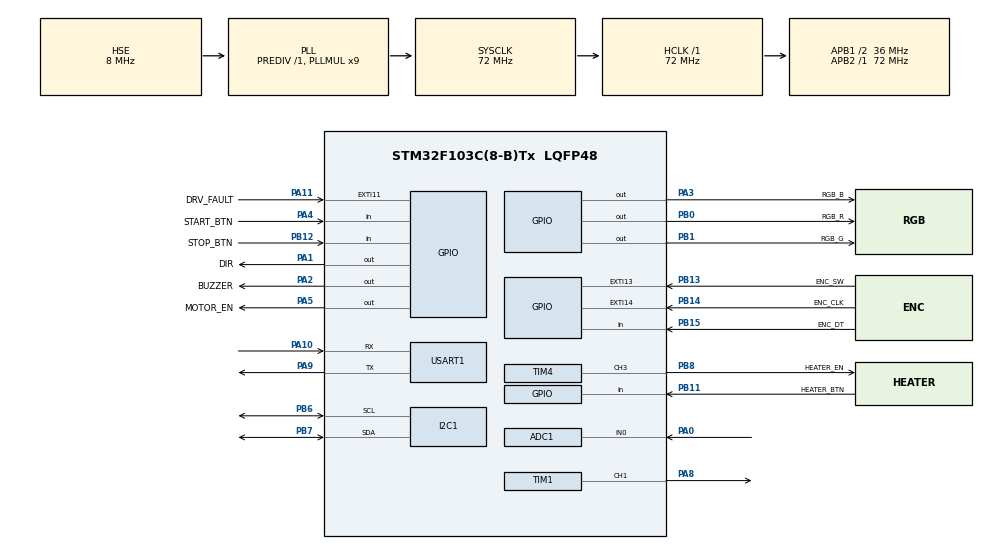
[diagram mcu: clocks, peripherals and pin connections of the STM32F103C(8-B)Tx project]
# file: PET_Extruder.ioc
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ADC1.Channel-0\#ChannelRegularConversion=ADC_CHANNEL_0
ADC1.ContinuousConvMode=ENABLE
ADC1.NbrOfConversionFlag=1
ADC1.Rank-0\#ChannelRegularConversion=1
ADC1.SamplingTime-0\#ChannelRegularConversion=ADC_SAMPLETIME_239CYCLES_5
ADC1.master=1
Dma.ADC1.0.Direction=DMA_PERIPH_TO_MEMORY
Dma.ADC1.0.Instance=DMA1_Channel1
Dma.ADC1.0.MemDataAlignment=DMA_MDATAALIGN_HALFWORD
Dma.ADC1.0.MemInc=DMA_MINC_ENABLE
Dma.ADC1.0.Mode=DMA_NORMAL
Dma.ADC1.0.PeriphDataAlignment=DMA_PDATAALIGN_HALFWORD
Dma.ADC1.0.PeriphInc=DMA_PINC_DISABLE
Dma.ADC1.0.Priority=DMA_PRIORITY_LOW
Dma.Request0=ADC1
Dma.Request1=USART1_TX
Dma.USART1_TX.1.Direction=DMA_MEMORY_TO_PERIPH
Dma.USART1_TX.1.Instance=DMA1_Channel4
Dma.USART1_TX.1.MemDataAlignment=DMA_MDATAALIGN_BYTE
Dma.USART1_TX.1.MemInc=DMA_MINC_ENABLE
Dma.USART1_TX.1.Mode=DMA_NORMAL
Dma.USART1_TX.1.PeriphDataAlignment=DMA_PDATAALIGN_BYTE
Dma.USART1_TX.1.PeriphInc=DMA_PINC_DISABLE
Dma.USART1_TX.1.Priority=DMA_PRIORITY_LOW
IWDG.Prescaler=IWDG_PRESCALER_64
IWDG.Reload=2500
Mcu.Family=STM32F1
Mcu.Name=STM32F103C(8-B)Tx
Mcu.Package=LQFP48
NVIC.DMA1_Channel1_IRQn=true\:0\:0\:false\:false\:true\:false\:true\:true
NVIC.DMA1_Channel4_IRQn=true\:0\:0\:false\:false\:true\:false\:true\:true
NVIC.EXTI15_10_IRQn=true\:0\:0\:false\:false\:true\:true\:true\:true
NVIC.PriorityGroup=NVIC_PRIORITYGROUP_4
NVIC.TIM3_IRQn=true\:0\:0\:false\:false\:true\:true\:true\:true
NVIC.USART1_IRQn=true\:0\:0\:false\:false\:true\:true\:true\:true
PA0-WKUP.Signal=ADCx_IN0
PA1.GPIO_Label=DIR
PA1.Signal=GPIO_Output
PA10.Mode=Asynchronous
PA10.Signal=USART1_RX
PA11.GPIO_Label=DRV_FAULT 
PA11.GPIO_ModeDefaultEXTI=GPIO_MODE_IT_FALLING
PA11.GPIO_PuPd=GPIO_PULLUP
PA11.Signal=GPXTI11
PA2.GPIO_Label=BUZZER
PA2.Signal=GPIO_Output
PA3.GPIO_Label=RGB_B
PA3.Signal=GPIO_Output
PA4.GPIO_Label=START_BTN
PA4.GPIO_PuPd=GPIO_PULLUP
PA4.Signal=GPIO_Input
PA5.GPIO_Label=MOTOR_EN
PA5.GPIO_PuPd=GPIO_PULLDOWN
PA5.Signal=GPIO_Output
PA8.Signal=S_TIM1_CH1
PA9.Mode=Asynchronous
PA9.Signal=USART1_TX
PB0.GPIO_Label=RGB_R
PB0.Signal=GPIO_Output
PB1.GPIO_Label=RGB_G
PB1.Signal=GPIO_Output
PB11.GPIO_Label=HEATER_BTN
PB11.GPIO_PuPd=GPIO_PULLUP
PB11.Signal=GPIO_Input
PB12.GPIO_Label=STOP_BTN
PB12.GPIO_PuPd=GPIO_PULLUP
PB12.Signal=GPIO_Input
PB13.GPIO_Label=ENC_SW
PB13.GPIO_ModeDefaultEXTI=GPIO_MODE_IT_FALLING
PB13.GPIO_PuPd=GPIO_PULLUP
PB13.Signal=GPXTI13
PB14.GPIO_Label=ENC_CLK 
PB14.GPIO_ModeDefaultEXTI=GPIO_MODE_IT_RISING_FALLING
PB14.GPIO_PuPd=GPIO_PULLUP
PB14.Signal=GPXTI14
PB15.GPIO_Label=ENC_DT
PB15.GPIO_PuPd=GPIO_PULLUP
PB15.Signal=GPIO_Input
PB6.Mode=I2C
PB6.Signal=I2C1_SCL
PB7.Mode=I2C
PB7.Signal=I2C1_SDA
PB8.GPIO_Label=HEATER_EN
PB8.Signal=S_TIM4_CH3
PD0-OSC_IN.Mode=HSE-External-Oscillator
PD0-OSC_IN.Signal=RCC_OSC_IN
PD1-OSC_OUT.Mode=HSE-External-Oscillator
PD1-OSC_OUT.Signal=RCC_OSC_OUT
ProjectManager.HeapSize=0x200
ProjectManager.StackSize=0x400
ProjectManager.TargetToolchain=STM32CubeIDE
RCC.ADCPresc=RCC_ADCPCLK2_DIV6
RCC.AHBFreq_Value=72000000
RCC.APB1CLKDivider=RCC_HCLK_DIV2
RCC.APB1Freq_Value=36000000
RCC.APB1TimFreq_Value=72000000
RCC.APB2Freq_Value=72000000
RCC.APB2TimFreq_Value=72000000
RCC.HCLKFreq_Value=72000000
RCC.PLLMUL=RCC_PLL_MUL9
RCC.PLLSourceVirtual=RCC_PLLSOURCE_HSE
RCC.SYSCLKFreq_VALUE=72000000
RCC.SYSCLKSource=RCC_SYSCLKSOURCE_PLLCLK
RCC.USBFreq_Value=72000000
SH.ADCx_IN0.0=ADC1_IN0,IN0
SH.S_TIM1_CH1.0=TIM1_CH1,PWM Generation1 CH1
SH.S_TIM4_CH3.0=TIM4_CH3,PWM Generation3 CH3
TIM1.Channel-PWM\ Generation1\ CH1=TIM_CHANNEL_1
TIM1.Prescaler=71
TIM3.AutoReloadPreload=TIM_AUTORELOAD_PRELOAD_ENABLE
TIM3.Period=9
TIM3.Prescaler=7199
TIM4.AutoReloadPreload=TIM_AUTORELOAD_PRELOAD_ENABLE
TIM4.Channel-PWM\ Generation3\ CH3=TIM_CHANNEL_3
TIM4.Period=9999
TIM4.Prescaler=719
USART1.VirtualMode=VM_ASYNC
VP_IWDG_VS_IWDG.Mode=IWDG_Activate
VP_SYS_VS_ND.Mode=No_Debug
VP_TIM2_VS_ClockSourceINT.Mode=Internal
VP_TIM3_VS_ClockSourceINT.Mode=Internal
board=custom

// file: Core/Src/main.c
/* USER CODE BEGIN Header */
/**
  ******************************************************************************
  * @file           : main.c
  * @brief          : PET Extruder - Thermal + Stepper Control
  ******************************************************************************
  */
/* USER CODE END Header */
#include "main.h"
#include "adc.h"
#include "dma.h"
#include "i2c.h"
#include "iwdg.h"
#include "tim.h"
#include "usart.h"
#include "gpio.h"

/* USER CODE BEGIN Includes */
#include "i2c-lcd.h"
#include "encoder.h"
#include "menu.h"
#include <math.h>
#include <stdio.h>
#include <stdbool.h>
#include <stdlib.h>
#include <string.h>
/* USER CODE END Includes */

/* USER CODE BEGIN PTD */
// SystemError_t moved to main.h
/* USER CODE END PTD */

/* USER CODE BEGIN PD */
#define VREF            3.3f
#define ADCMAX          4095.0f

#define R_SERIES        1000.0f
#define R_NTC_25C       100500.0f

#define BETA_LOW        3950.0f
#define BETA_HIGH       4410.0f
#define R_CROSSOVER     1500.0f
#define T_25C_K         298.15f

//#define T_SET_C         250.0f

#define T_HYST_C        2.0f
#define T_MAX_C         270.0f

#define ADC_BUF_SIZE    64
#define ALPHA_TEMP      0.1f

#define FREQ_MIN_HZ     50
#define ACCEL_STEPS     2000
#define DECEL_STEPS     2000

#define TEMP_SAFE_EXTRUSION  230.0f

#define MOTOR_STEPS_PER_REV  200.0f
#define MICROSTEPPING        32.0f
#define GEAR_RATIO           60.0f
#define ROLLER_DIAMETER_MM   70.8f
#define PI                   3.14159265f
#define E_STEPS_PER_MM       ((MOTOR_STEPS_PER_REV * MICROSTEPPING * GEAR_RATIO) / (PI * ROLLER_DIAMETER_MM))

#define HEATING_TIMEOUT_MS      300000UL
#define TEMP_STARTUP_THRESHOLD  100.0f
// Rango ADC más estricto para asegurar disparo de alarma antes que T:Err
#define ADC_DISCONNECTED_LOW    100     // Antes 50
#define ADC_DISCONNECTED_HIGH   4000    // Antes 4045

// --- FLASH MEMORY SETTINGS (Page 63 for STM32F103C8 - 64KB) ---
#define FLASH_USER_START_ADDR   0x0800FC00
#define CONFIG_MAGIC_NUMBER     0xCAFEBABE // Para saber si ya guardamos algo valido antes

typedef struct {
    float saved_target_temp;
    float saved_target_speed;
    float saved_kp;
    float saved_ki;
    float saved_kd;
    uint32_t magic;
} ExtruderConfig;
/* USER CODE END PD */

/* USER CODE BEGIN PM */
static inline float adc_to_voltage(uint16_t adc) {
  return (adc * VREF) / ADCMAX;
}

static inline float ntc_temp_c_from_adc(uint16_t adc) {
  float v_ntc = adc_to_voltage(adc);

  if (v_ntc < 0.05f || v_ntc > (VREF - 0.05f)) return NAN;

  float r_ntc = R_SERIES / ((VREF / v_ntc) - 1.0f);
  if (r_ntc <= 0.0f) return NAN;

  float current_beta = (r_ntc > R_CROSSOVER) ? BETA_LOW : BETA_HIGH;

  float inv_t = (1.0f / T_25C_K) + (1.0f / current_beta) * logf(r_ntc / R_NTC_25C);
  return (1.0f / inv_t) - 273.15f;
}

// Control PWM del heater (duty cycle 0-100%)
static inline void heater_set_pwm(float power_percent) {
    if (power_percent < 0.0f) power_percent = 0.0f;
    if (power_percent > 100.0f) power_percent = 100.0f;
    uint32_t duty = (uint32_t)(power_percent * 100.0f); // 0-100% -> 0-9999
    __HAL_TIM_SET_COMPARE(&htim4, TIM_CHANNEL_3, duty);
}

static inline void motor_enable(bool en) {
  HAL_GPIO_WritePin(MOTOR_EN_GPIO_Port, MOTOR_EN_Pin, en ? GPIO_PIN_RESET : GPIO_PIN_SET);
}

static void set_motor_speed(uint16_t freq_hz) {
  if (freq_hz < FREQ_MIN_HZ) freq_hz = FREQ_MIN_HZ;
  if (freq_hz > 20000) freq_hz = 20000;

  uint32_t arr = (1000000UL / freq_hz) - 1;
  __HAL_TIM_SET_AUTORELOAD(&htim1, arr);
  __HAL_TIM_SET_COMPARE(&htim1, TIM_CHANNEL_1, arr / 2);
}
/* USER CODE END PM */

/* USER CODE BEGIN PV */
uint32_t error_count = 0;
float target_temp = 245.0f;  // Temperatura inicial consistente con defaults
static uint16_t adc_buffer[ADC_BUF_SIZE];
volatile bool adc_conversion_complete = false;
volatile bool flag_100ms = false;
volatile bool flag_1ms = false;

float tc_filt = NAN;            // Removed static
bool heater_on = false;

static MotorState motor_state = MOTOR_IDLE;
static ThermalState thermal_state = THERMAL_IDLE;
static uint32_t step_count = 0;
uint16_t current_freq = FREQ_MIN_HZ; // Removed static
static bool direction_cw = true;
static bool motor_running = false;

static char tx_buffer[64];

PID_Config pid = {
    .Kp = 1.0f,   // Balanceado: suficiente ganancia sin overshoot extremo
    .Ki = 0.15f,  // Mantener integral suave
    .Kd = 60.0f,  // Alto para buena anticipación de overshoot
    .prevError = 0.0f,
    .integral = 0.0f,
    .output = 0.0f
};

uint32_t pwm_window_start = 0;
float target_speed_mm_s = 3.0f;

uint8_t rx_byte;
char rx_buffer[10];
uint8_t rx_index = 0;

SystemError_t system_error = ERROR_NONE; // Removed static
static uint32_t heating_start_time = 0;
static bool heating_phase_active = false;

// VARIABLES DE GESTIÓN DE BOTONES FÍSICOS
// Start (Motor) local en function
// Stop (Emergency Stop) local en function

// Nuevo Botón Heater (Toggle PB11)
static bool last_heater_btn_state = true; // Asumimos Pull-up (1 = suelto, 0 = apretado)
static uint32_t heater_btn_timer = 0;

// Flags de eventos (Comandos que se pasan al main loop)
bool cmd_motor_start = false;
bool cmd_motor_stop = false;
bool cmd_heater_start = false;
bool cmd_heater_stop = false;

// ⬇️ NUEVAS BANDERAS PARA UART (Mantén las de heater y agrega las de motor) ⬇️
volatile bool uart_cmd_heater_start = false;
volatile bool uart_cmd_heater_stop = false;
volatile bool uart_cmd_motor_start = false; // <--- AGREGAR
volatile bool uart_cmd_motor_stop = false;  // <--- AGREGAR

// --- BUZZER TIMEOUT ---
uint32_t buzzer_stop_time = 0;

// --- COLD PROTECT MESSAGE TIMEOUT ---
static uint32_t cold_protect_message_time = 0;
/* USER CODE END PV */

void SystemClock_Config(void);
/* USER CODE BEGIN PFP */
void handle_physical_buttons(void);
static void process_adc_buffer(void);
static void motor_state_machine(void);
static void update_lcd(void);
float PID_Compute(PID_Config *pid, float setpoint, float measured_value, float dt_seconds);
uint32_t speed_mm_s_to_hz(float speed_mm_s);
static void check_safety_conditions(void);
void save_config_to_flash(void);
void load_config_from_flash(void);

// --- AUXILIARY FUNCTIONS ---
void beep(uint32_t duration_ms) {
    HAL_GPIO_WritePin(BUZZER_GPIO_Port, BUZZER_Pin, GPIO_PIN_SET);
    buzzer_stop_time = HAL_GetTick() + duration_ms;
}

void set_rgb(uint8_t r, uint8_t g, uint8_t b) {
    HAL_GPIO_WritePin(RGB_R_GPIO_Port, RGB_R_Pin, r ? GPIO_PIN_SET : GPIO_PIN_RESET);
    HAL_GPIO_WritePin(RGB_G_GPIO_Port, RGB_G_Pin, g ? GPIO_PIN_SET : GPIO_PIN_RESET);
    HAL_GPIO_WritePin(RGB_B_GPIO_Port, RGB_B_Pin, b ? GPIO_PIN_SET : GPIO_PIN_RESET);
}
/* USER CODE END PFP */

/* USER CODE BEGIN 0 */

void save_config_to_flash(void) {
    HAL_FLASH_Unlock();

    // 1. Borrar la página antes de escribir
    FLASH_EraseInitTypeDef EraseInitStruct;
    uint32_t PageError;
    EraseInitStruct.TypeErase   = FLASH_TYPEERASE_PAGES;
    EraseInitStruct.PageAddress = FLASH_USER_START_ADDR;
    EraseInitStruct.NbPages     = 1;

    if (HAL_FLASHEx_Erase(&EraseInitStruct, &PageError) != HAL_OK) {
        HAL_FLASH_Lock();
        return; // Error al borrar
    }

    // 2. Preparar datos
    ExtruderConfig cfg;
    cfg.saved_target_temp = target_temp;
    cfg.saved_target_speed = target_speed_mm_s;
    cfg.saved_kp = pid.Kp;
    cfg.saved_ki = pid.Ki;
    cfg.saved_kd = pid.Kd;
    cfg.magic = CONFIG_MAGIC_NUMBER;

    // 3. Escribir datos (palabra por palabra de 32 bits)
    uint32_t *source_addr = (uint32_t *)&cfg;
    uint32_t dest_addr = FLASH_USER_START_ADDR;

    for (int i = 0; i < sizeof(ExtruderConfig) / 4; i++) {
        if (HAL_FLASH_Program(FLASH_TYPEPROGRAM_WORD, dest_addr, *source_addr) == HAL_OK) {
            dest_addr += 4;
            source_addr++;
        } else {
            break; // Error escritura
        }
    }

    HAL_FLASH_Lock();
}

void load_config_from_flash(void) {
    ExtruderConfig *cfg = (ExtruderConfig *)FLASH_USER_START_ADDR;

    if (cfg->magic == CONFIG_MAGIC_NUMBER) {
        // Datos validos encontrados
        target_temp = cfg->saved_target_temp;
        target_speed_mm_s = cfg->saved_target_speed;
        pid.Kp = cfg->saved_kp;
        pid.Ki = cfg->saved_ki;
        pid.Kd = cfg->saved_kd;
    }
    // Si no coincide el magic number, mantenemos los defaults hardcodeados
}

void restore_defaults(void) {
    target_temp = 245.0f;
    target_speed_mm_s = 3.0f;
    pid.Kp = 1.0f;   // Balanceado
    pid.Ki = 0.15f;
    pid.Kd = 60.0f;  // Alto para anticipación
    save_config_to_flash(); // Guardar defaults inmediatamente
}

void send_config_report(void) {
  // Enviar configuración actual como mensaje especial "PAR:..."
  // PAR:T=250.0,V=3.0,P=4.00,I=0.15,D=10.00
  char buf[100];

  // Manual float conversion for safety inside interrupt context or restricted printfs
  int t_int = (int)target_temp; int t_dec = (int)(fabs(target_temp - t_int)*10);
  int v_int = (int)target_speed_mm_s; int v_dec = (int)(fabs(target_speed_mm_s - v_int)*10);

  // PID (2 decimals)
  int p_int = (int)pid.Kp; int p_dec = (int)(fabs(pid.Kp - p_int)*100);
  int i_int = (int)pid.Ki; int i_dec = (int)(fabs(pid.Ki - i_int)*100);
  int d_int = (int)pid.Kd; int d_dec = (int)(fabs(pid.Kd - d_int)*100);

  int len = sprintf(buf, "PAR:T=%d.%d,V=%d.%d,P=%d.%02d,I=%d.%02d,D=%d.%02d\r\n",
          t_int, t_dec, v_int, v_dec,
          p_int, p_dec, i_int, i_dec, d_int, d_dec);

  HAL_UART_Transmit(&huart1, (uint8_t*)buf, len, 100);
}

static float s_curve_profile(float progress) {
    if (progress <= 0.0f) return 0.0f;
    if (progress >= 1.0f) return 1.0f;
    return (1.0f - cosf(PI * progress)) / 2.0f;
}

uint32_t speed_mm_s_to_hz(float speed_mm_s) {
    if (speed_mm_s <= 0.0f) return 0;
    float hz = speed_mm_s * E_STEPS_PER_MM;
    if (hz > 20000.0f) hz = 20000.0f;
    return (uint32_t)hz;
}

static void check_safety_conditions(void) {
    uint32_t sum = 0;
    for (int i = 0; i < ADC_BUF_SIZE; i++) {
        sum += adc_buffer[i];
    }
    uint16_t adc_avg = sum / ADC_BUF_SIZE;

    // Check NTC desconectado
    // Si ya estamos en error de desconexión, no es necesario re-trigger continuamente
    // MODIFICADO: Agregamos isnan(tc_filt) como condición de seguridad adicional
    if (adc_avg < ADC_DISCONNECTED_LOW || adc_avg > ADC_DISCONNECTED_HIGH || isnan(tc_filt)) {
        if (system_error != ERROR_NTC_DISCONNECTED) {
            system_error = ERROR_NTC_DISCONNECTED;
            thermal_state = THERMAL_ERROR;
            pid.output = 0.0f;
            heater_set_pwm(0.0f);
            motor_state = MOTOR_IDLE;
            motor_enable(false);
            HAL_TIM_PWM_Stop(&htim1, TIM_CHANNEL_1);
        }
        return;
    }

    // Check Sobretemperatura
    if (!isnan(tc_filt) && tc_filt > T_MAX_C) {
        if (system_error != ERROR_OVERTEMP) {
            system_error = ERROR_OVERTEMP;
            thermal_state = THERMAL_ERROR;
            pid.output = 0.0f;
            heater_set_pwm(0.0f);
            motor_state = MOTOR_IDLE;
            motor_enable(false);
            HAL_TIM_PWM_Stop(&htim1, TIM_CHANNEL_1);
        }
        return;
    }

    // Check Timeout Calentamiento
    if (heating_phase_active) {
        if (tc_filt >= TEMP_STARTUP_THRESHOLD) {
            heating_phase_active = false;
        } else if ((HAL_GetTick() - heating_start_time) > HEATING_TIMEOUT_MS) {
            if (system_error != ERROR_HEATING_TIMEOUT) {
                system_error = ERROR_HEATING_TIMEOUT;
                thermal_state = THERMAL_ERROR;
                pid.output = 0.0f;
                heater_set_pwm(0.0f);
            }
            return;
        }
    }
}

static void process_adc_buffer(void) {
    uint32_t sum = 0;
    for (int i = 0; i < ADC_BUF_SIZE; i++) {
        sum += adc_buffer[i];
    }
    uint16_t adc_avg = sum / ADC_BUF_SIZE;

    float tc_raw = ntc_temp_c_from_adc(adc_avg);

    if (isnan(tc_raw)) {
        tc_filt = NAN;
    } else {
        if (isnan(tc_filt)) {
            tc_filt = tc_raw;
        } else {
            tc_filt = ALPHA_TEMP * tc_raw + (1.0f - ALPHA_TEMP) * tc_filt;
        }
    }
}

static void motor_state_machine(void) {
  // ELIMINADAS lecturas directas de pines (ahora usamos cmd_motor_start/stop)

  bool sensor_ok = !isnan(tc_filt);
  bool temp_safe = sensor_ok && (tc_filt >= TEMP_SAFE_EXTRUSION);

  uint32_t target_hz = speed_mm_s_to_hz(target_speed_mm_s);
  if (target_hz < FREQ_MIN_HZ) target_hz = FREQ_MIN_HZ;

  switch (motor_state) {

    case MOTOR_IDLE:
      motor_enable(false);
      motor_running = false;
      current_freq = 0;

      // CAMBIO AQUÍ: Chequear flag física O flag UART
      if ((cmd_motor_start || uart_cmd_motor_start) && temp_safe) {
        motor_state = MOTOR_ACCEL;
        motor_running = true;
        motor_enable(true);
        current_freq = FREQ_MIN_HZ;
        set_motor_speed(current_freq);
        HAL_TIM_PWM_Start(&htim1, TIM_CHANNEL_1);
        step_count = 0;

        // CONSUMIR BANDERAS
        uart_cmd_motor_start = false;
        cmd_motor_start = false;

        update_lcd(); // Actualizar LCD inmediatamente
      }
      // Si intentan arrancar en frío, mostrar aviso
      else if ((cmd_motor_start || uart_cmd_motor_start) && !temp_safe) {
          lcd_put_cur(1, 0);
          lcd_send_string("Cold Protect!   ");
          cold_protect_message_time = HAL_GetTick(); // Marca tiempo del mensaje

          // CONSUMIR BANDERAS (Aviso mostrado)
          uart_cmd_motor_start = false;
          cmd_motor_start = false;
      }

      // Limpieza de seguridad: Si hay orden de stop en IDLE, la limpiamos
      if (cmd_motor_stop) cmd_motor_stop = false;
      if (uart_cmd_motor_stop) uart_cmd_motor_stop = false;
      break;

    case MOTOR_ACCEL:
      motor_enable(true);
      motor_running = true;

      if (step_count < ACCEL_STEPS) {
        float progress = (float)step_count / (float)ACCEL_STEPS;
        float curve_factor = s_curve_profile(progress);
        current_freq = FREQ_MIN_HZ + (uint32_t)((target_hz - FREQ_MIN_HZ) * curve_factor);
        set_motor_speed(current_freq);
        step_count++;
      } else {
        motor_state = MOTOR_RUN;
        current_freq = target_hz;
        set_motor_speed(current_freq);
      }

      // CAMBIO AQUÍ: Chequear Stop Físico O UART
      if (cmd_motor_stop || uart_cmd_motor_stop || !temp_safe) {
        motor_state = MOTOR_DECEL;
        step_count = 0;

        // CONSUMIR BANDERAS
        uart_cmd_motor_start = false; // Cancel start if pending
        cmd_motor_start = false;
        uart_cmd_motor_stop = false;
        cmd_motor_stop = false;
      }
      break;

    case MOTOR_RUN:
      motor_enable(true);
      motor_running = true;

      int32_t freq_error = (int32_t)target_hz - (int32_t)current_freq;
      const uint32_t RAMP_STEP_HZ = 5;

      if (abs(freq_error) > RAMP_STEP_HZ) {
        if (freq_error > 0) current_freq += RAMP_STEP_HZ;
        else current_freq -= RAMP_STEP_HZ;
        set_motor_speed(current_freq);
      } else if (abs(freq_error) > 0) {
        current_freq = target_hz;
        set_motor_speed(current_freq);
      }

      // CAMBIO AQUÍ: Chequear Stop Físico O UART
      if (cmd_motor_stop || uart_cmd_motor_stop || !temp_safe) {
        motor_state = MOTOR_DECEL;
        step_count = 0;

        // CONSUMIR BANDERAS
        uart_cmd_motor_start = false; // Cancel start if pending
        cmd_motor_start = false;
        uart_cmd_motor_stop = false;
        cmd_motor_stop = false;
      }
      break;

    case MOTOR_DECEL:
      if (step_count < DECEL_STEPS) {
        float progress = (float)step_count / (float)DECEL_STEPS;
        float curve_factor = 1.0f - s_curve_profile(progress);
        current_freq = FREQ_MIN_HZ + (uint32_t)((target_hz - FREQ_MIN_HZ) * curve_factor);
        set_motor_speed(current_freq);
        step_count++;
      } else {
        HAL_TIM_PWM_Stop(&htim1, TIM_CHANNEL_1);
        motor_state = MOTOR_IDLE;
        motor_enable(false);
        motor_running = false;
        current_freq = 0;
      }
      break;

    default:
        motor_enable(false);
        break;
  }
}

static void update_lcd(void) {
  char lcd_line1[17];
  char lcd_line2[17];

  // 1. Manejo de Errores (Máx 16 chars)
  if (system_error != ERROR_NONE) {
      if (system_error == ERROR_NTC_DISCONNECTED)
          snprintf(lcd_line1, sizeof(lcd_line1), "ERROR: NTC DISC ");
      else if (system_error == ERROR_OVERTEMP)
          snprintf(lcd_line1, sizeof(lcd_line1), "ERROR: OVERTEMP ");
      else
          snprintf(lcd_line1, sizeof(lcd_line1), "ERROR: CODE %-4d", system_error);
  }
  // 2. Error de Lectura
  else if (isnan(tc_filt)) {
      snprintf(lcd_line1, sizeof(lcd_line1), "T:Err / %.0fC     ", target_temp);
  }
  // 3. Funcionamiento Normal
  else {
      char status_char;
      switch (thermal_state) {
          case THERMAL_IDLE:    status_char = '-'; break;
          case THERMAL_HEATING: status_char = '^'; break;
          case THERMAL_READY:   status_char = '*'; break;
          default:              status_char = '?'; break;
      }

      char buffer_temp[17];
      snprintf(buffer_temp, sizeof(buffer_temp), "T:%.1f/%.0f %c %c",
               tc_filt, target_temp, status_char, heater_on ? 'H' : ' ');
      snprintf(lcd_line1, sizeof(lcd_line1), "%-16.16s", buffer_temp);
  }

  // Línea 2 (Motor y Estado)
  if (motor_state == MOTOR_IDLE) {
      if (thermal_state == THERMAL_IDLE) {
          // Solo pedimos START si está todo apagado
          snprintf(lcd_line2, sizeof(lcd_line2), "Press START     "); // 16 chars con espacios
      }
      else if (thermal_state == THERMAL_HEATING) {
          // Si está calentando, mostramos progreso
          snprintf(lcd_line2, sizeof(lcd_line2), "Heating... %3d%% ", (int)pid.output);
      }
      else if (thermal_state == THERMAL_READY) {
          snprintf(lcd_line2, sizeof(lcd_line2), "Ready - 0 Hz    ");
      }
      else {
          snprintf(lcd_line2, sizeof(lcd_line2), "Wait...         ");
      }
  } else {
      char buff_speed[32];
      snprintf(buff_speed, sizeof(buff_speed), "%.1fmm/s %uHz",
               target_speed_mm_s, current_freq);
      snprintf(lcd_line2, sizeof(lcd_line2), "%-16.16s", buff_speed);
  }

  lcd_put_cur(0, 0);
  lcd_send_string(lcd_line1);
  lcd_put_cur(1, 0);
  lcd_send_string(lcd_line2);
}

/* USER CODE END 0 */

int main(void)
{

  /* MCU Configuration--------------------------------------------------------*/

  /* Reset of all peripherals, Initializes the Flash interface and the Systick. */
  HAL_Init();

  /* Configure the system clock */
  SystemClock_Config();

  /* Initialize all configured peripherals */
  MX_GPIO_Init();
  MX_DMA_Init();
  MX_ADC1_Init();
  MX_TIM2_Init();
  MX_I2C1_Init();
  MX_TIM3_Init();
  MX_USART1_UART_Init();
  MX_TIM1_Init();
  MX_IWDG_Init();
  MX_TIM4_Init();
  /* USER CODE BEGIN 2 */

  lcd_init();
  lcd_clear();
  encoder_init();
  menu_init();

  // CARGAR CONFIGURACION GUARDADA
  load_config_from_flash();

  HAL_ADC_Start_DMA(&hadc1, (uint32_t*)adc_buffer, ADC_BUF_SIZE);
  HAL_TIM_Base_Start_IT(&htim3);

  motor_enable(false);
  HAL_GPIO_WritePin(DIR_GPIO_Port, DIR_Pin, direction_cw ? GPIO_PIN_SET : GPIO_PIN_RESET);
  heater_set_pwm(0.0f);

  HAL_UART_Receive_IT(&huart1, &rx_byte, 1);

  /* USER CODE END 2 */

  /* Infinite loop */
  /* USER CODE BEGIN WHILE */
  while (1)
  {
    HAL_IWDG_Refresh(&hiwdg);

    // 1. BUZZER TIMEOUT: Apagar beeps temporales expirados
    if (buzzer_stop_time > 0 && HAL_GetTick() > buzzer_stop_time) {
        HAL_GPIO_WritePin(BUZZER_GPIO_Port, BUZZER_Pin, GPIO_PIN_RESET);
        buzzer_stop_time = 0;
    }

    // 2. ALARMA Y LED (Prioridad 1 - Feedback de seguridad inmediato)
    // ERROR: Rojo + Alarma sonora
    if (system_error != ERROR_NONE) {
        uint32_t now = HAL_GetTick();
        // Patrón de Alarma: 500ms ON / 500ms OFF sincronizado
        if ((now / 500) % 2 == 0) {
           set_rgb(1, 0, 0); // Rojo ON
           HAL_GPIO_WritePin(BUZZER_GPIO_Port, BUZZER_Pin, GPIO_PIN_SET);
        } else {
           set_rgb(0, 0, 0); // LED OFF
           HAL_GPIO_WritePin(BUZZER_GPIO_Port, BUZZER_Pin, GPIO_PIN_RESET);
        }
        buzzer_stop_time = 0; // Desactivar lógica normal de beeps
    }
    // Prioridad 2: Funcionamiento Normal
    else {
        // LED RGB según estado térmico
        // Verde si está a ±5°C del target (independiente del estado)
        if (!isnan(tc_filt) && fabs(tc_filt - target_temp) <= 5.0f && thermal_state != THERMAL_IDLE) {
            set_rgb(0,1,0); // Verde
        }
        else if (thermal_state == THERMAL_HEATING) {
            // Cyan si falta menos de 20°C, Azul si falta más
            if(tc_filt > (target_temp - 20.0f)) set_rgb(0,1,1); else set_rgb(0,0,1);
        }
        else set_rgb(1,1,0); // AMARILLO (Sistema en Reposo - Listo para empezar)

        // Apagar Buzzer si no hay beep pendiente
        if (buzzer_stop_time == 0) {
            HAL_GPIO_WritePin(BUZZER_GPIO_Port, BUZZER_Pin, GPIO_PIN_RESET);
        }
    }

    // 3. INPUTS: Leer estado de controles físicos y encoder
    encoder_update();
    handle_physical_buttons();

    // 4. MOTOR: Ejecutar solo si pasó 1 milisegundo (Control de Rampa)
    if (flag_1ms) {
        motor_state_machine();
        flag_1ms = false;
    }

    if (menu_is_active()) {
      menu_update();
      menu_render();
      if (encoder_button_pressed()) menu_handle_button_short();
      if (encoder_button_long_press()) menu_handle_button_long();

    }
    else {

      if (encoder_button_long_press()) {
        menu_enter();
        continue;
      }

      // Iniciar conversión ADC cada 100ms
      if (flag_100ms) {
        flag_100ms = false;
        HAL_ADC_Start_DMA(&hadc1, (uint32_t*)adc_buffer, ADC_BUF_SIZE);
      }

      // 3. SENSORES Y SEGURIDAD (Solo si hay nuevos datos)
      if (adc_conversion_complete) {
        process_adc_buffer();
        check_safety_conditions(); // Puede cambiar thermal_state a ERROR
      }

      // 5. LÓGICA TÉRMICA (Ejecutar SIEMPRE para detectar botones)
      switch (thermal_state) {

          case THERMAL_IDLE:
            pid.output = 0.0f;
            heater_on = false;
            heating_phase_active = false;  // ✅ Asegurar que está limpio en IDLE

            // Limpiar comandos de stop si llegan estando ya apagado
            if (cmd_heater_stop) cmd_heater_stop = false;
            if (uart_cmd_heater_stop) uart_cmd_heater_stop = false;

            // ⬇️ MODIFICADO: Aceptar botón Físico (cmd) O comando UART (uart_cmd)
            if ((cmd_heater_start || uart_cmd_heater_start) && !isnan(tc_filt)) {
                thermal_state = THERMAL_HEATING;
                heating_phase_active = true;
                heating_start_time = HAL_GetTick();

                // Limpiar banderas
                cmd_heater_start = false;
                uart_cmd_heater_start = false;

                if (huart1.gState == HAL_UART_STATE_READY) HAL_UART_Transmit(&huart1, (uint8_t*)"[TH] Start\r\n", 12, 100);
            }
            break;

          case THERMAL_HEATING:
            // Limpiar comandos de start si llegan estando ya calentando
            if (cmd_heater_start) cmd_heater_start = false;
            if (uart_cmd_heater_start) uart_cmd_heater_start = false;

            // Calcular PID solo si hay datos nuevos (cada 100ms)
            if (adc_conversion_complete) {
                pid.output = PID_Compute(&pid, target_temp, tc_filt, 0.1f);

                // Umbral simple: 3% de potencia PID
                // El PID con Kd alto previene overshoot naturalmente
                heater_on = (pid.output > 3.0f);

                // Chequear si llegamos al target
                if (!isnan(tc_filt) && fabs(tc_filt - target_temp) < 5.0f) {
                  thermal_state = THERMAL_READY;
                  heating_phase_active = false;
                  if (huart1.gState == HAL_UART_STATE_READY) HAL_UART_Transmit(&huart1, (uint8_t*)"[TH] Ready\r\n", 12, 100);
                }
            }

            // ⬇️ MODIFICADO: Apagado manual Físico o UART
            if (cmd_heater_stop || uart_cmd_heater_stop) {
                thermal_state = THERMAL_IDLE;
                heating_phase_active = false;  // ✅ Limpiar timer de timeout
                cmd_heater_stop = false;
                uart_cmd_heater_stop = false;
                if (huart1.gState == HAL_UART_STATE_READY) HAL_UART_Transmit(&huart1, (uint8_t*)"[TH] Stop\r\n", 12, 100);
            }

            if (system_error != ERROR_NONE) thermal_state = THERMAL_ERROR;
            break;

          case THERMAL_READY:
             // Limpiar comandos de start si llegan estando ya listo
             if (cmd_heater_start) cmd_heater_start = false;
             if (uart_cmd_heater_start) uart_cmd_heater_start = false;

             if (adc_conversion_complete) {
                pid.output = PID_Compute(&pid, target_temp, tc_filt, 0.1f);
                heater_on = (pid.output > 3.0f);  // Umbral simple
             }

            // ⬇️ MODIFICADO: Apagado manual Físico o UART
            if (cmd_heater_stop || uart_cmd_heater_stop) {
                thermal_state = THERMAL_IDLE;
                pid.output = 0.0f;
                heater_on = false;
                heating_phase_active = false;  // ✅ Limpiar timer de timeout
                cmd_heater_stop = false;
                uart_cmd_heater_stop = false;
                if (huart1.gState == HAL_UART_STATE_READY) HAL_UART_Transmit(&huart1, (uint8_t*)"[TH] Stop\r\n", 12, 100);
            }

            if (system_error != ERROR_NONE) thermal_state = THERMAL_ERROR;
            break;

          case THERMAL_ERROR:
            pid.output = 0.0f;
            heater_on = false;

            // "Acknowledge": Solo el botón START limpia el error (Requisito de seguridad)
            // Esto asegura que el usuario intencionadamente reinicia el sistema.
            if (cmd_motor_start) {
              system_error = ERROR_NONE;
              thermal_state = THERMAL_IDLE;

              // Consumir el comando de arranque para que no arranque el motor inmediatamente.
              // El usuario deberá iniciar calentamiento y luego motor.
              cmd_motor_start = false;

              // Limpiar otros comandos pendientes por seguridad
              uart_cmd_motor_start = false;
              cmd_heater_start = false;

              lcd_clear();
            }

            // Limpiar resto de banderas para evitar comportamientos extraños al salir del error
            cmd_motor_stop = false;
            cmd_heater_stop = false;
            cmd_heater_start = false;
            // No limpiamos las de UART por si el usuario quiere resetear por UART (aunque el if solo mira cmd_motor_start)
            // Si quieres permitir UART reset, cambia el if a: if (cmd_motor_start || uart_cmd_motor_start)
            if (uart_cmd_motor_start) {
                 // Permitimos Reset por UART también por comodidad en dashboard
                  system_error = ERROR_NONE;
                  thermal_state = THERMAL_IDLE;
                  uart_cmd_motor_start = false;
                  lcd_clear();
            }
            break;
      }

      // 6. SALIDA FÍSICA (CRÍTICO: APLICAR EL VALOR AL PIN)
      heater_set_pwm((thermal_state == THERMAL_IDLE) ? 0.0f : pid.output);

      // CAMBIO AQUI: Quitamos la condición restrictiva huart1.gState.
      // Solo chequeamos si hay nuevos datos (adc_conversion_complete)
      if (adc_conversion_complete) {
          float error = target_temp - tc_filt;

          int pwm_out = (thermal_state == THERMAL_IDLE) ? 0 : (int)pid.output;
          float actual_speed_mm_s = (float)current_freq / E_STEPS_PER_MM;

          // FIX: Manual formatting for floats (avoids linker flags issues)
          // Temp Actual
          int t_curr_int = (int)tc_filt;
          int t_curr_dec = (int)(fabs(tc_filt - t_curr_int) * 100);
          // Target
          int t_targ_int = (int)target_temp;
          int t_targ_dec = (int)(fabs(target_temp - t_targ_int) * 100);
          // Speed
          int spd_int = (int)actual_speed_mm_s;
          int spd_dec = (int)(fabs(actual_speed_mm_s - spd_int) * 100);
          // Error (PID)
          int err_int = (int)error;
          int err_dec = (int)(fabs(error - err_int) * 100);

          // STATUS FLAGS
          // Bit 0: Heater On
          // Bit 1: Motor Running
          // Bit 2: Temp Safe (Cold Protect: 0=Cold, 1=Safe)
          bool is_temp_safe = (!isnan(tc_filt) && tc_filt >= TEMP_SAFE_EXTRUSION);
          uint8_t status_flags = 0;
          if (heater_on)      status_flags |= (1 << 0);
          if (motor_running)  status_flags |= (1 << 1);
          if (is_temp_safe)   status_flags |= (1 << 2);

          // AÑADIDO: system_error y status_flags al final del CSV
          int len = sprintf(tx_buffer, "%lu,%d.%02d,%d.%02d,%d,%d.%02d,%d.%02d,%d,%d\r\n",
                 HAL_GetTick(),
                 t_curr_int, t_curr_dec,
                 t_targ_int, t_targ_dec,
                 pwm_out,
                 spd_int, spd_dec,
                 err_int, err_dec,
                 (int)system_error,
                 status_flags); // <--- Columna 8: Flags

          // Timeout de 50ms suficiente para enviar sin bloquear todo si está ocupado
          HAL_UART_Transmit(&huart1, (uint8_t*)tx_buffer, len, 50);
      }

      // Limpiar bandera de ADC al FINAL
      if (adc_conversion_complete) {
          adc_conversion_complete = false;
          update_lcd();
      }

      // Restaurar LCD después de mensaje "Cold Protect"
      if (cold_protect_message_time > 0 && (HAL_GetTick() - cold_protect_message_time) > 800) {
          cold_protect_message_time = 0;
          update_lcd();
      }
    }

  }

    /* USER CODE END WHILE */

  }

void SystemClock_Config(void)
{
  RCC_OscInitTypeDef RCC_OscInitStruct = {0};
  RCC_ClkInitTypeDef RCC_ClkInitStruct = {0};
  RCC_PeriphCLKInitTypeDef PeriphClkInit = {0};

  /** Initializes the RCC Oscillators according to the specified parameters
  * in the RCC_OscInitTypeDef structure.
  */
  RCC_OscInitStruct.OscillatorType = RCC_OSCILLATORTYPE_LSI|RCC_OSCILLATORTYPE_HSE;
  RCC_OscInitStruct.HSEState = RCC_HSE_ON;
  RCC_OscInitStruct.HSEPredivValue = RCC_HSE_PREDIV_DIV1;
  RCC_OscInitStruct.HSIState = RCC_HSI_ON;
  RCC_OscInitStruct.LSIState = RCC_LSI_ON;
  RCC_OscInitStruct.PLL.PLLState = RCC_PLL_ON;
  RCC_OscInitStruct.PLL.PLLSource = RCC_PLLSOURCE_HSE;
  RCC_OscInitStruct.PLL.PLLMUL = RCC_PLL_MUL9;
  if (HAL_RCC_OscConfig(&RCC_OscInitStruct) != HAL_OK)
  {
    Error_Handler();
  }

  /** Initializes the CPU, AHB and APB buses clocks
  */
  RCC_ClkInitStruct.ClockType = RCC_CLOCKTYPE_HCLK|RCC_CLOCKTYPE_SYSCLK
                              |RCC_CLOCKTYPE_PCLK1|RCC_CLOCKTYPE_PCLK2;
  RCC_ClkInitStruct.SYSCLKSource = RCC_SYSCLKSOURCE_PLLCLK;
  RCC_ClkInitStruct.AHBCLKDivider = RCC_SYSCLK_DIV1;
  RCC_ClkInitStruct.APB1CLKDivider = RCC_HCLK_DIV2;
  RCC_ClkInitStruct.APB2CLKDivider = RCC_HCLK_DIV1;

  if (HAL_RCC_ClockConfig(&RCC_ClkInitStruct, FLASH_LATENCY_2) != HAL_OK)
  {
    Error_Handler();
  }
  PeriphClkInit.PeriphClockSelection = RCC_PERIPHCLK_ADC;
  PeriphClkInit.AdcClockSelection = RCC_ADCPCLK2_DIV6;
  if (HAL_RCCEx_PeriphCLKConfig(&PeriphClkInit) != HAL_OK)
  {
    Error_Handler();
  }
}

/* USER CODE BEGIN 4 */

// ========== CALLBACK DE RECEPCIÓN UART (INTERRUPCIÓN) ==========
void HAL_UART_RxCpltCallback(UART_HandleTypeDef *huart) {
  if (huart->Instance == USART1) {
    if (rx_byte == '\n' || rx_byte == '\r') {
      rx_buffer[rx_index] = '\0';
      if (rx_index > 0) {
        char cmd = rx_buffer[0];

        // --- T: SET TEMPERATURE ---
        if (cmd == 't' || cmd == 'T') {
          float new_temp = atof((char*)&rx_buffer[1]);
          if (new_temp >= 0.0f && new_temp <= T_MAX_C) {
             target_temp = new_temp;
             HAL_UART_Transmit(&huart1, (uint8_t*)"OK: Temp Updated\r\n", 18, 100);
          }
        }
        // --- H: HEATER ON/OFF ---
        else if (cmd == 'h' || cmd == 'H') {
           if (rx_buffer[1] == '1') {
               uart_cmd_heater_start = true;
               HAL_UART_Transmit(&huart1, (uint8_t*)"OK: Heater ON\r\n", 15, 100);
           } else {
               uart_cmd_heater_stop = true;
               HAL_UART_Transmit(&huart1, (uint8_t*)"OK: Heater OFF\r\n", 16, 100);
           }
        }
        // --- V: VELOCIDAD ---
        else if (cmd == 'v' || cmd == 'V') {
          float new_speed = atof((char*)&rx_buffer[1]);
          if (new_speed >= 0.1f && new_speed <= 15.0f) {
            target_speed_mm_s = new_speed;
            char ack[32]; sprintf(ack, "OK: Speed=%.1f\r\n", target_speed_mm_s);
            HAL_UART_Transmit(&huart1, (uint8_t*)ack, strlen(ack), 100);
          }
        }
        // --- S/R: STOP/RUN ---
        else if (cmd == 's' || cmd == 'S') {
            uart_cmd_motor_stop = true; // <--- USAR NUEVA VARIABLE
            HAL_UART_Transmit(&huart1, (uint8_t*)"OK: Motor Stop\r\n", 16, 100);
        }
        else if (cmd == 'r' || cmd == 'R') {
            uart_cmd_motor_start = true; // <--- USAR NUEVA VARIABLE
            HAL_UART_Transmit(&huart1, (uint8_t*)"OK: Motor Start\r\n", 17, 100);
        }
        // --- PID: KP ---
        else if (cmd == 'p' || cmd == 'P') {
            float val = atof((char*)&rx_buffer[1]);
            // Permitimos 0.0
            if (val >= 0.0f) {
                pid.Kp = val;
                HAL_UART_Transmit(&huart1, (uint8_t*)"OK: Kp Updated\r\n", 16, 100);
            }
        }
        // --- PID: KI ---
        else if (cmd == 'i' || cmd == 'I') {
            float val = atof((char*)&rx_buffer[1]);
            if (val >= 0.0f) {
                pid.Ki = val;
                pid.integral = 0.0f; // Reset integral to avoid windup jumps
                HAL_UART_Transmit(&huart1, (uint8_t*)"OK: Ki Updated\r\n", 16, 100);
            }
        }
        // --- PID: KD ---
        else if (cmd == 'd' || cmd == 'D') {
            float val = atof((char*)&rx_buffer[1]);
            if (val >= 0.0f) {
                pid.Kd = val;
                HAL_UART_Transmit(&huart1, (uint8_t*)"OK: Kd Updated\r\n", 16, 100);
            }
        }
        // --- W: WRITE (SAVE) TO FLASH ---
        else if (cmd == 'w' || cmd == 'W') {
            save_config_to_flash();
            HAL_UART_Transmit(&huart1, (uint8_t*)"OK: CONFIG SAVED\r\n", 18, 100);
        }
        // --- X: FACTORY RESET ---
        else if (cmd == 'x' || cmd == 'X') {
            restore_defaults();
            send_config_report();
            HAL_UART_Transmit(&huart1, (uint8_t*)"OK: DEFAULTS RESTORED\r\n", 23, 100);
        }
        // --- ?: QUERY CONFIG ---
        else if (cmd == '?') {
            send_config_report();
        }
        else {
             HAL_UART_Transmit(&huart1, (uint8_t*)"ERR: Unknown\r\n", 14, 100);
        }
      }
      rx_index = 0;
    } else {
      if (rx_index < (sizeof(rx_buffer) - 1)) rx_buffer[rx_index++] = rx_byte;
      else rx_index = 0;
    }
    HAL_UART_Receive_IT(&huart1, &rx_byte, 1);
  }
}

void handle_physical_buttons(void) {
    // NOTA: NO LIMPIAMOS LOS FLAGS AQUÍ PARA EVITAR PERDER LA ORDEN
    // SI EL LOOP CORRE MÁS RÁPIDO QUE EL TIMER DE 1MS.
    // LOS CONSUMIDORES (motor_state_machine, etc) DEBEN LIMPIARLOS.

    uint32_t now = HAL_GetTick();

    // --- START BUTTON (PA4) - MOTOR START ---
    static bool last_start_state = true;
    static uint32_t start_timer = 0;
    bool is_start_pressed = (HAL_GPIO_ReadPin(START_BTN_GPIO_Port, START_BTN_Pin) == GPIO_PIN_RESET);

    if (is_start_pressed && last_start_state == true) {
        if ((now - start_timer) > 200) { // Debounce 200ms
            beep(100);
            cmd_motor_start = true;
            start_timer = now;
            last_start_state = false;
        }
    } else if (!is_start_pressed) {
        last_start_state = true;
    }

    // --- STOP BUTTON (PB12) - MOTOR STOP ---
    static bool last_stop_state = true;
    static uint32_t stop_timer = 0;
    bool is_stop_pressed = (HAL_GPIO_ReadPin(STOP_BTN_GPIO_Port, STOP_BTN_Pin) == GPIO_PIN_RESET);

    if (is_stop_pressed && last_stop_state == true) {
        if ((now - stop_timer) > 200) { // Debounce 200ms
            beep(100);
            cmd_motor_stop = true;
            stop_timer = now;
            last_stop_state = false;
        }
    } else if (!is_stop_pressed) {
        last_stop_state = true;
    }

    // Toggle Heater (PB11)
    bool is_heater_pressed = (HAL_GPIO_ReadPin(HEATER_BTN_GPIO_Port, HEATER_BTN_Pin) == GPIO_PIN_RESET);
    if (is_heater_pressed && last_heater_btn_state == true) {
        if ((now - heater_btn_timer) > 300) {
            beep(50);
            // Toggle Logic
            if (thermal_state == THERMAL_IDLE || thermal_state == THERMAL_ERROR) {
                cmd_heater_start = true;
            } else {
                cmd_heater_stop = true;
            }
            heater_btn_timer = now;
        }
        last_heater_btn_state = false;
    } else if (!is_heater_pressed) {
        last_heater_btn_state = true;
    }
}

float PID_Compute(PID_Config *pid, float setpoint, float measured_value, float dt_seconds) {
    float error = setpoint - measured_value;
    float P = pid->Kp * error;
    if (fabs(error) < 15.0f) pid->integral += error * dt_seconds; else pid->integral = 0.0f;
    float I_term = pid->Ki * pid->integral;
    if (I_term > 100.0f) { I_term = 100.0f; pid->integral = 100.0f / pid->Ki; }
    else if (I_term < -20.0f) { I_term = -20.0f; pid->integral = -20.0f / pid->Ki; }
    float derivative = (error - pid->prevError) / dt_seconds;
    float D = pid->Kd * derivative;
    pid->prevError = error;
    float output = P + I_term + D;
    if (output > 100.0f) output = 100.0f;
    if (output < 0.0f) output = 0.0f;
    return output;
}

// ============================================
// TIMER CALLBACK: EL CORAZÓN DEL SISTEMA
// Maneja Rampa Motor (1ms) y Datos/Gráficos (100ms)
// ============================================
void HAL_TIM_PeriodElapsedCallback(TIM_HandleTypeDef *htim)
{
  if (htim->Instance == TIM3) {
    static uint32_t counter_100ms = 0;

    // Bandera para Rampa de Motor (1ms)
    flag_1ms = true;

    counter_100ms++;
    if (counter_100ms >= 100) {
      flag_100ms = true;

      // IMPLEMENTACIÓN IDEAL:
      // Ya NO activamos adc_conversion_complete aquí.
      // Esperamos a que el callback del ADC DMA lo active cuando realmente termine (~1.3ms después)

      counter_100ms = 0;
    }
    /* USER CODE END WHILE */

    /* USER CODE BEGIN 3 */
  }
  /* USER CODE END 3 */
}

/* USER CODE END 4 */

void Error_Handler(void)
{
  /* USER CODE BEGIN Error_Handler_Debug */
  /* User can add his own implementation to report the HAL error return state */
  __disable_irq();
  while (1)
  {
      // El microcontrolador se queda aquí si algo falla gravemente
  }
  /* USER CODE END Error_Handler_Debug */
}
